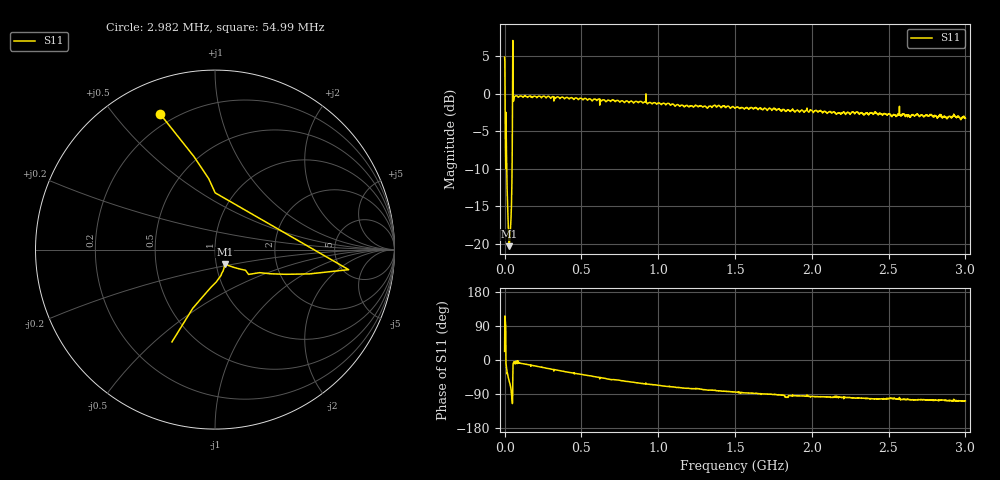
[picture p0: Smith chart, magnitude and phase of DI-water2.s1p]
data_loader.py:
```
"""
Data loading and parsing for ML classification pipeline.
Loads YAML metadata and S1P files from the database directory.
"""

import numpy as np
import yaml
from pathlib import Path
from typing import Dict, List, Optional, Tuple
import re


def parse_s1p_file(filepath: Path) -> Tuple[np.ndarray, np.ndarray, np.ndarray]:
    """
    Parse S1P file and return frequency, magnitude (dB), and phase (degrees).
    
    S1P format: frequency real imag (RI format, 50 ohm)
    We convert to magnitude (dB) and phase (degrees).
    
    Args:
        filepath: Path to .s1p file
        
    Returns:
        freq_hz: Frequency in Hz
        s11_db: S11 magnitude in dB
        phase_deg: S11 phase in degrees
    """
    with open(filepath, 'r') as f:
        lines = f.readlines()
    
    # Skip comment lines starting with '!'
    data_lines = [line.strip() for line in lines if line.strip() and not line.startswith('!') and not line.startswith('#')]
    
    freq = []
    s11_db = []
    phase_deg = []
    
    for line in data_lines:
        parts = line.split()
        if len(parts) >= 3:
            f_hz = float(parts[0])
            real = float(parts[1])
            imag = float(parts[2])
            
            # Convert RI to magnitude and phase
            magnitude = np.sqrt(real**2 + imag**2)
            s11_db_val = 20 * np.log10(magnitude) if magnitude > 0 else -100
            phase_rad = np.arctan2(imag, real)
            phase_deg_val = np.degrees(phase_rad)
            
            freq.append(f_hz)
            s11_db.append(s11_db_val)
            phase_deg.append(phase_deg_val)
    
    return np.array(freq), np.array(s11_db), np.array(phase_deg)


def load_compound_yaml(yaml_path: Path) -> Dict:
    """
    Load and parse a compound.yaml file.
    
    Args:
        yaml_path: Path to compound.yaml file
        
    Returns:
        Dictionary containing compound info and measurements
    """
    with open(yaml_path, 'r') as f:
        data = yaml.safe_load(f)
    
    return data


def find_all_compounds(database_dir: Path) -> List[Dict]:
    """
    Recursively find all compound.yaml files in the database directory.
    
    Args:
        database_dir: Root database directory
        
    Returns:
        List of dictionaries, each containing compound data and its directory path
    """
    compounds = []
    
    for yaml_file in database_dir.rglob('compound.yaml'):
        try:
            compound_data = load_compound_yaml(yaml_file)
            compound_data['_dir'] = yaml_file.parent
            compounds.append(compound_data)
        except Exception as e:
            print(f"Warning: Failed to load {yaml_file}: {e}")
    
    return compounds


def find_pure_solvent_file(compound_dir: Path, solvent_name: str, database_dir: Path) -> Optional[Path]:
    """
    Find the S1P file for pure solvent (0% concentration).
    
    Strategy:
    1. Look for 0%.s1p in the current compound's directory
    2. Look for the solvent in the database (e.g., "DI water" -> Water/DI-water.s1p)
    
    Args:
        compound_dir: Directory of the compound measurement
        solvent_name: Name of the solvent (e.g., "DI water")
        database_dir: Root database directory
        
    Returns:
        Path to pure solvent S1P file, or None if not found
    """
    # Strategy 1: Look for 0%.s1p in the same directory
    zero_percent = compound_dir / '0%.s1p'
    if zero_percent.exists():
        return zero_percent
    
    # Strategy 2: Find solvent in database
    if solvent_name and 'water' in solvent_name.lower():
        # Look for Water directory
        water_dir = database_dir / 'Water'
        if water_dir.exists():
            # Try common water file names
            for water_file in ['DI-water.s1p', 'DI-water2.s1p']:
                water_path = water_dir / water_file
                if water_path.exists():
                    return water_path
    
    return None


def extract_concentration_percent(measurement: Dict) -> Optional[float]:
    """
    Extract concentration as a percentage from measurement metadata.
    
    Args:
        measurement: Measurement dictionary from YAML
        
    Returns:
        Concentration as percentage (0-100), or None if not available
    """
    if 'concentration' not in measurement:
        return None
    
    conc = measurement['concentration']
    
    # Try volume_percent first
    if 'volume_percent' in conc:
        return float(conc['volume_percent'])
    
    # Try generic percent
    if 'percent' in conc:
        return float(conc['percent'])
    
    # Try to calculate from mass/volume
    if 'mass_g' in conc and 'volume_ml' in conc:
        mass_g = float(conc['mass_g'])
        volume_ml = float(conc['volume_ml'])
        # Mass percent = (mass / volume) * 100
        # This is an approximation (weight/volume percent)
        return (mass_g / volume_ml) * 100
    
    return None


def normalize_solvent_name(solvent: Optional[str]) -> str:
    """
    Normalize solvent name for one-hot encoding.
    
    Args:
        solvent: Solvent name from YAML (e.g., "DI water", "ethanol")
        
    Returns:
        Normalized solvent name (e.g., "water", "ethanol", "none")
    """
    if solvent is None:
        return 'none'
    
    solvent_lower = solvent.lower().strip()
    
    if 'water' in solvent_lower:
        return 'water'
    elif 'ethanol' in solvent_lower:
        return 'ethanol'
    elif 'isopropanol' in solvent_lower or 'propanol' in solvent_lower:
        return 'isopropanol'
    else:
        return 'other'
```
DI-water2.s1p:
# HZ S RI R 50
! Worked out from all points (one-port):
!   2020 points, 10 kHz to 3 GHz, reference 50 ohm
!   lowest |S11| = -20.3 dB at 29.73 MHz (marker M1), VSWR 1.21, Z = 54.9 - j8.88 ohm
!   |S11| at or under -10 dB: 13.89 MHz to 48.55 MHz (34.66 MHz wide, 111 % of centre)
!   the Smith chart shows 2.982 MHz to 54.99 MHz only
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10000  1.619 0.6785
1.635467e7  0.1871 -0.1383
2.229818e7  0.106 -0.0993
2.972758e7  0.0537 -0.0801
3.715698e7  0.0476 -0.111
4.012873e7  0.0375 -0.1316
5.795928e7  0.8839 -0.1321
6.836043e7  0.9497 -0.1764
7.430395e7  0.9647 -0.108
6.032769e8  0.6418 -0.6456
1.000007e9  0.3415 -0.7966
1.832099e9  -0.1109 -0.7552
2.000003e9  -0.083 -0.7701
3e9  -0.2106 -0.654
